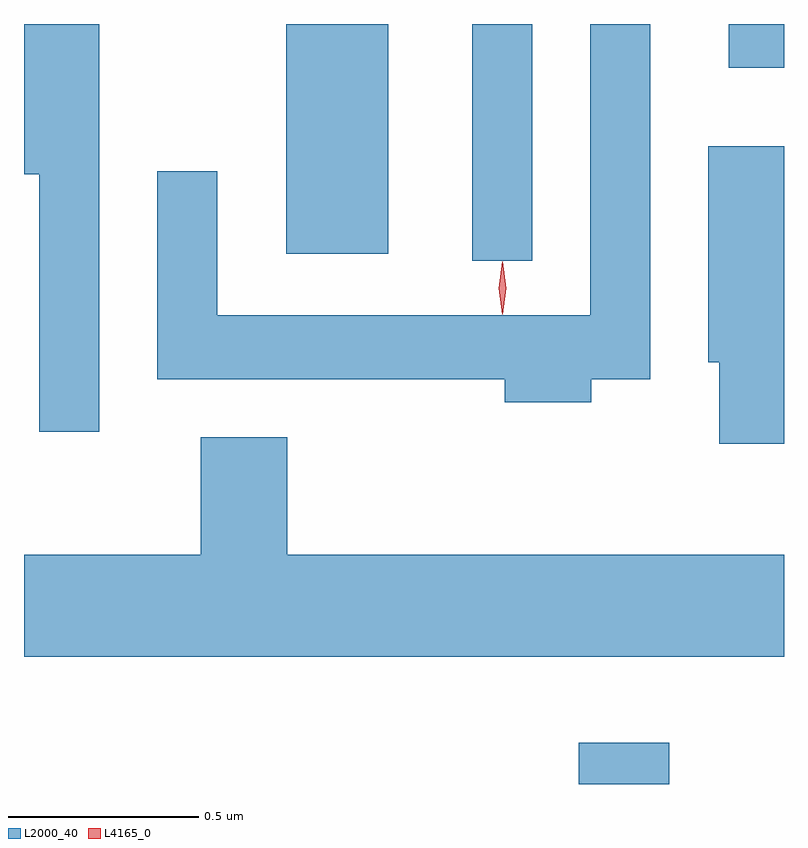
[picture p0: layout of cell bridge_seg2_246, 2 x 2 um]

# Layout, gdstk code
import gdstk
lib = gdstk.Library(unit=1e-6, precision=1e-09)
def R(c, l, rs):  # rectangles x0, y0, x1, y1
    for r in rs: c.add(gdstk.rectangle(r[:2], r[2:], *l))
def P(c, l, *ps):  # polygons
    for p in ps: c.add(gdstk.Polygon(p, *l))
L2000_40 = (2000, 40)
L4165_0 = (4165, 0)

bridge_seg2_246 = lib.new_cell('bridge_seg2_246')
R(bridge_seg2_246, L2000_40, [(549.776,1067.961,550.014,1068.069), (549.496,1069.338,549.654,1069.961), (549.006,1069.356,549.274,1069.961), (550.171,1069.846,550.316,1069.961)])
P(bridge_seg2_246, L2000_40, [(548.514,1069.961),(548.316,1069.961),(548.316,1069.566),(548.356,1069.566),(548.356,1068.888),(548.514,1068.888)],
  [(549.809,1069.026),(549.964,1069.026),(549.964,1069.961),(549.806,1069.961),(549.806,1069.194),(548.824,1069.194),(548.824,1069.573),(548.666,1069.573),(548.666,1069.026),(549.581,1069.026),(549.581,1068.966),(549.809,1068.966)],
  [(550.316,1069.639),(550.116,1069.639),(550.116,1069.071),(550.146,1069.071),(550.146,1068.856),(550.316,1068.856)],
  [(550.316,1068.564),(549.009,1068.564),(549.009,1068.874),(548.781,1068.874),(548.781,1068.564),(548.316,1068.564),(548.316,1068.296),(550.316,1068.296)])
P(bridge_seg2_246, L4165_0, [(549.574,1069.197),(549.565,1069.266),(549.574,1069.336),(549.575,1069.336),(549.576,1069.336),(549.585,1069.266),(549.576,1069.197),(549.575,1069.197)],
  [(549.575,1069.199),(549.575,1069.2),(549.565,1069.266),(549.574,1069.332),(549.575,1069.333),(549.575,1069.332),(549.585,1069.266),(549.576,1069.2)])

lib.write_gds('bridge_seg2_246.gds')
